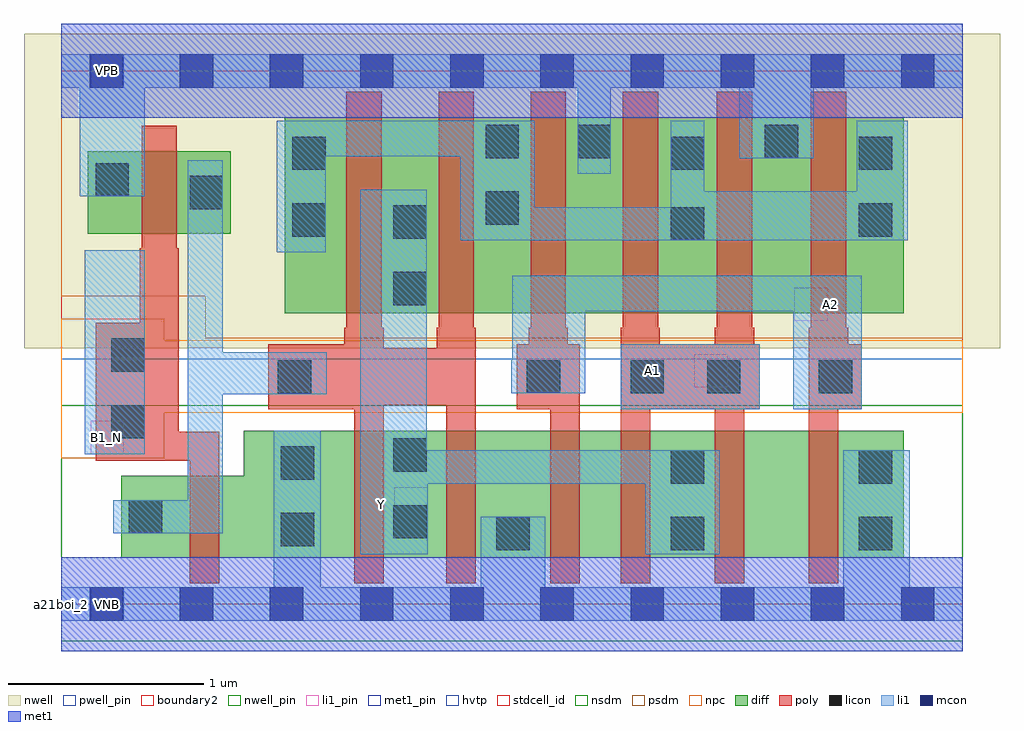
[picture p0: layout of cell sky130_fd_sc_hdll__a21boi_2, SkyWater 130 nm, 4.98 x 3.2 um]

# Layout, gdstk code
import gdstk
lib = gdstk.Library(unit=1e-6, precision=1e-09)
def R(c, l, rs):  # rectangles x0, y0, x1, y1
    for r in rs: c.add(gdstk.rectangle(r[:2], r[2:], *l))
def A(c, l, x, y, w, h, nx, ny, dx, dy):  # array of equal rectangles
    R(c, l, [(x+i*dx, y+j*dy, x+i*dx+w, y+j*dy+h) for i in range(nx) for j in range(ny)])
def P(c, l, *ps):  # polygons
    for p in ps: c.add(gdstk.Polygon(p, *l))
nwell_pin = (64, 16)
nwell = (64, 20)
diff = (65, 20)
poly = (66, 20)
licon = (66, 44)
li1_pin = (67, 16)
li1 = (67, 20)
mcon = (67, 44)
met1_pin = (68, 16)
met1 = (68, 20)
hvtp = (78, 44)
stdcell_id = (81, 4)
nsdm = (93, 44)
psdm = (94, 20)
npc = (95, 20)
pwell_pin = (122, 16)
boundary2 = (236, 0)

sky130_fd_sc_hdll__a21bo = lib.new_cell('sky130_fd_sc_hdll__a21boi_2')
R(sky130_fd_sc_hdll__a21bo, nwell_pin, [(0.15,2.635,0.32,2.805)])
R(sky130_fd_sc_hdll__a21bo, nwell, [(-0.19,1.305,4.79,2.91)])
R(sky130_fd_sc_hdll__a21bo, diff, [(1.14,1.485,4.3,2.485), (0.135,1.89,0.865,2.31)])
P(sky130_fd_sc_hdll__a21bo, diff, [(4.3,0.885),(0.93,0.885),(0.93,0.655),(0.305,0.655),(0.305,0.235),(4.3,0.235)])
P(sky130_fd_sc_hdll__a21bo, poly, [(0.805,0.88),(0.6,0.88),(0.6,1.815),(0.59,1.815),(0.59,2.44),(0.41,2.44),(0.41,1.815),(0.4,1.815),(0.4,1.435),(0.175,1.435),(0.175,0.73),(0.655,0.73),(0.655,0.105),(0.805,0.105)],
  [(2.115,1.41),(2.105,1.41),(2.105,2.615),(1.925,2.615),(1.925,1.41),(1.915,1.41),(1.915,1.305),(1.645,1.305),(1.645,1.41),(1.635,1.41),(1.635,2.615),(1.455,2.615),(1.455,1.41),(1.445,1.41),(1.445,1.325),(1.055,1.325),(1.055,0.995),(1.495,0.995),(1.495,0.105),(1.645,0.105),(1.645,1.015),(1.965,1.015),(1.965,0.105),(2.115,0.105)],
  [(2.645,1.325),(2.585,1.325),(2.585,1.41),(2.575,1.41),(2.575,2.615),(2.395,2.615),(2.395,1.41),(2.385,1.41),(2.385,1.325),(2.325,1.325),(2.325,0.995),(2.495,0.995),(2.495,0.105),(2.645,0.105)],
  [(3.565,1.325),(3.535,1.325),(3.535,1.41),(3.525,1.41),(3.525,2.615),(3.345,2.615),(3.345,1.41),(3.335,1.41),(3.335,1.325),(3.055,1.325),(3.055,1.41),(3.045,1.41),(3.045,2.615),(2.865,2.615),(2.865,1.41),(2.855,1.41),(2.855,0.105),(3.005,0.105),(3.005,0.995),(3.335,0.995),(3.335,0.105),(3.485,0.105),(3.485,0.995),(3.565,0.995)],
  [(4.085,1.325),(4.015,1.325),(4.015,1.41),(4.005,1.41),(4.005,2.615),(3.825,2.615),(3.825,1.41),(3.815,1.41),(3.815,0.105),(3.965,0.105),(3.965,0.995),(4.085,0.995)])
R(sky130_fd_sc_hdll__a21bo, licon, [(2.22,0.275,2.39,0.445), (3.11,0.275,3.28,0.445), (4.07,0.275,4.24,0.445), (1.12,0.295,1.29,0.465), (1.695,0.335,1.865,0.505), (0.345,0.36,0.515,0.53), (3.11,0.615,3.28,0.785), (4.07,0.615,4.24,0.785), (1.12,0.635,1.29,0.805), (1.695,0.675,1.865,0.845), (0.255,0.845,0.425,1.015), (1.105,1.075,1.275,1.245), (2.375,1.075,2.545,1.245), (2.905,1.075,3.075,1.245), (3.295,1.075,3.465,1.245), (3.865,1.075,4.035,1.245), (0.255,1.185,0.425,1.355), (1.695,1.525,1.865,1.695), (3.11,1.855,3.28,2.025), (1.695,1.865,1.865,2.035), (1.18,1.875,1.35,2.045), (4.07,1.875,4.24,2.045), (2.165,1.935,2.335,2.105), (0.655,2.015,0.825,2.185), (0.175,2.08,0.345,2.25), (1.18,2.215,1.35,2.385), (3.11,2.215,3.28,2.385), (4.07,2.215,4.24,2.385), (2.165,2.275,2.335,2.445), (2.635,2.275,2.805,2.445), (3.59,2.275,3.76,2.445)])
R(sky130_fd_sc_hdll__a21bo, li1_pin, [(1.7,0.425,1.87,0.595), (0.15,0.765,0.32,0.935), (3.23,1.105,3.4,1.275), (3.74,1.445,3.91,1.615)])
R(sky130_fd_sc_hdll__a21bo, li1, [(0.12,0.765,0.425,1.805), (2.855,0.995,3.565,1.325)])
P(sky130_fd_sc_hdll__a21bo, li1, [(1.355,1.285),(0.825,1.285),(0.825,2.265),(0.645,2.265),(0.645,0.53),(0.265,0.53),(0.265,0.36),(0.825,0.36),(0.825,1.07),(1.355,1.07)],
  [(4.6,0.085),(4.33,0.085),(4.33,0.785),(3.99,0.785),(3.99,0.085),(2.47,0.085),(2.47,0.445),(2.14,0.445),(2.14,0.085),(1.325,0.085),(1.325,0.885),(1.085,0.885),(1.085,0.085),(0,0.085),(0,-0.085),(4.6,-0.085)],
  [(4.6,2.805),(0,2.805),(0,2.635),(0.095,2.635),(0.095,2.08),(0.425,2.08),(0.425,2.635),(2.635,2.635),(2.635,2.195),(2.805,2.195),(2.805,2.635),(3.46,2.635),(3.46,2.275),(3.84,2.275),(3.84,2.635),(4.6,2.635)],
  [(3.36,0.785),(1.865,0.785),(1.865,2.115),(1.525,2.115),(1.525,0.255),(1.87,0.255),(1.87,0.615),(2.98,0.615),(2.98,0.255),(3.36,0.255)],
  [(4.085,1.675),(2.3,1.675),(2.3,1.245),(2.295,1.245),(2.295,1.075),(2.675,1.075),(2.675,1.495),(3.735,1.495),(3.735,0.995),(4.085,0.995)],
  [(4.32,2.465),(4.06,2.465),(4.06,2.105),(3.28,2.105),(3.28,2.465),(3.11,2.465),(3.11,2.025),(2.415,2.025),(2.415,2.465),(1.1,2.465),(1.1,1.795),(1.35,1.795),(1.35,2.285),(2.035,2.285),(2.035,1.855),(4.32,1.855)])
A(sky130_fd_sc_hdll__a21bo, mcon, 0.145, -0.085, 0.17, 0.17, 10, 2, 0.46, 2.72)
R(sky130_fd_sc_hdll__a21bo, met1_pin, [(0.15,-0.085,0.32,0.085), (0.15,2.635,0.32,2.805)])
R(sky130_fd_sc_hdll__a21bo, met1, [(0,-0.24,4.6,0.24), (0,2.48,4.6,2.96)])
R(sky130_fd_sc_hdll__a21bo, hvtp, [(0,1.25,4.6,2.72)])
R(sky130_fd_sc_hdll__a21bo, stdcell_id, [(0,0,4.6,2.72)])
R(sky130_fd_sc_hdll__a21bo, nsdm, [(0,-0.19,4.6,1.015)])
P(sky130_fd_sc_hdll__a21bo, psdm, [(4.6,2.91),(0,2.91),(0,1.57),(0.735,1.57),(0.735,1.355),(4.6,1.355)])
P(sky130_fd_sc_hdll__a21bo, npc, [(4.6,1.345),(0.525,1.345),(0.525,1.455),(0,1.455),(0,0.745),(0.525,0.745),(0.525,0.975),(4.6,0.975)])
R(sky130_fd_sc_hdll__a21bo, pwell_pin, [(0.15,-0.085,0.32,0.085)])
R(sky130_fd_sc_hdll__a21bo, boundary2, [(0,0,4.6,2.72)])
sky130_fd_sc_hdll__a21bo.add(gdstk.Label('VNB', (0.235,0), layer=64, texttype=59))
sky130_fd_sc_hdll__a21bo.add(gdstk.Label('VPB', (0.235,2.72), layer=64, texttype=5))
sky130_fd_sc_hdll__a21bo.add(gdstk.Label('VPWR', (0.235,2.72), layer=68, texttype=5))
sky130_fd_sc_hdll__a21bo.add(gdstk.Label('VGND', (0.23,0), layer=68, texttype=5))
sky130_fd_sc_hdll__a21bo.add(gdstk.Label('B1_N', (0.23,0.85), layer=67, texttype=5))
sky130_fd_sc_hdll__a21bo.add(gdstk.Label('A2', (3.925,1.53), layer=67, texttype=5))
sky130_fd_sc_hdll__a21bo.add(gdstk.Label('A1', (3.015,1.19), layer=67, texttype=5))
sky130_fd_sc_hdll__a21bo.add(gdstk.Label('Y', (1.635,0.51), layer=67, texttype=5))
sky130_fd_sc_hdll__a21bo.add(gdstk.Label('a21boi_2', (0,0), layer=83, texttype=44))

lib.write_gds('sky130_fd_sc_hdll__a21boi_2.gds')
